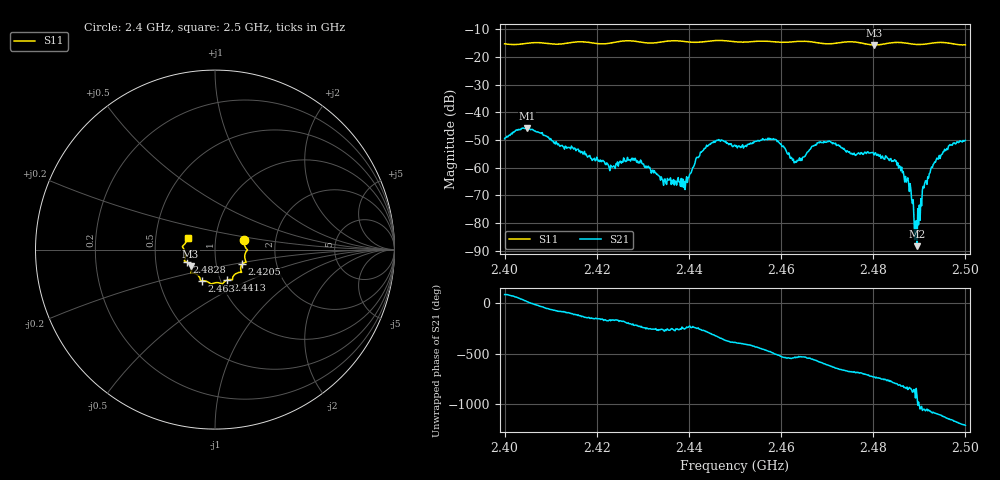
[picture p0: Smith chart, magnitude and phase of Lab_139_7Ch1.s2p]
# Hz S RI R 50
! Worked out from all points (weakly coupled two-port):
!   601 points, 2.4 GHz to 2.5 GHz, reference 50 ohm
!   highest |S21| = -45.66 dB at 2.4048 GHz (marker M1); lowest = -88.3 dB at 2.4895 GHz (marker M2)
!   lowest |S11| = -15.7 dB at 2.4802 GHz (marker M3), VSWR 1.39, Z = 37.5 - j6.98 ohm
!   |S11| at or under -10 dB: start of sweep to end of sweep
!   S12 and S22 are empty: the file has one direction only
!   S11 on the Smith chart (normalised r, x): 2.4 GHz: 1.38, +0.15; 2.4205 GHz: 1.34, -0.22; 2.4413 GHz: 1.08, -0.38; 2.463 GHz: 0.82, -0.29; 2.4828 GHz: 0.72, -0.10; 2.5 GHz: 0.73, +0.10
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2.4e9  0.1631 0.0526  6.06e-05 0.00332  0 0  0 0
2.404833e9  0.1752 0.00468  0.00492 0.00171  0 0  0 0
2.416667e9  0.1734 -0.0696  -0.00127 -0.00148  0 0  0 0
2.4205e9  0.152 -0.0808  -0.00121 -0.00062  0 0  0 0
2.428e9  0.1446 -0.1267  -0.00119 0.00085  0 0  0 0
2.433333e9  0.1003 -0.1514  -2.99e-05 0.000723  0 0  0 0
2.438667e9  0.0911 -0.1677  -0.00024 0.000577  0 0  0 0
2.441333e9  0.0677 -0.1696  -0.000601 0.00107  0 0  0 0
2.446e9  0.0417 -0.1925  0.00254 0.00179  0 0  0 0
2.45e9  0.0247 -0.1855  0.00229 -0.00111  0 0  0 0
2.4585e9  -0.0339 -0.1836  -0.00246 -0.00209  0 0  0 0
2.463e9  -0.0721 -0.1736  -0.00123 -0.000155  0 0  0 0
2.466667e9  -0.0816 -0.1673  -0.00235 0.000536  0 0  0 0
2.4705e9  -0.103 -0.1375  -0.000603 0.00297  0 0  0 0
2.480167e9  -0.1361 -0.0906  0.00166 -0.0003  0 0  0 0
2.482833e9  -0.1585 -0.0701  0.00119 -0.00106  0 0  0 0
2.483333e9  -0.1625 -0.0684  0.000934 -0.00109  0 0  0 0
2.4875e9  -0.1671 -0.052  -0.000465 -0.000462  0 0  0 0
2.4895e9  -0.1645 -0.0291  -3.67e-05 1.08e-05  0 0  0 0
2.491167e9  -0.1686 -0.00752  0.000478 0.000212  0 0  0 0
2.4935e9  -0.1794 0.0126  0.00123 -0.000225  0 0  0 0
2.5e9  -0.1518 0.0639  -0.0021 -0.0023  0 0  0 0
